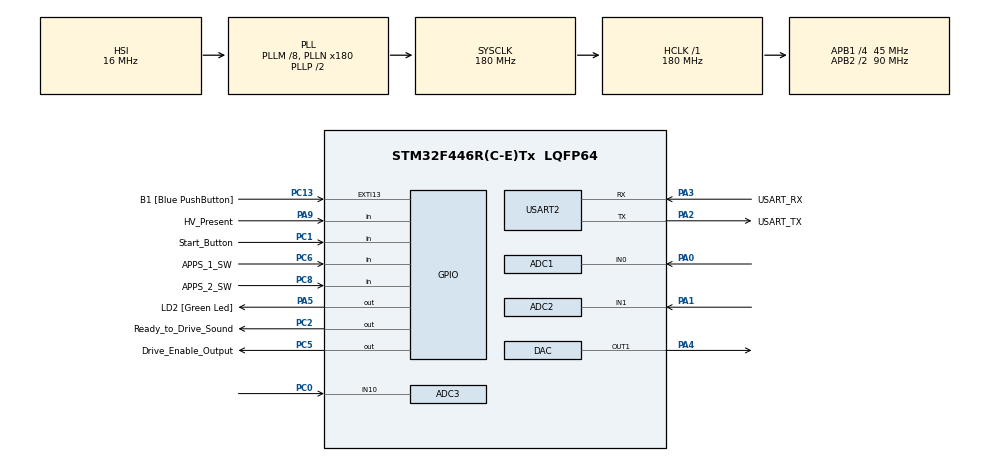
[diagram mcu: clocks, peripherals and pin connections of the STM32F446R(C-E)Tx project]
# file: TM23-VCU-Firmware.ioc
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ADC1.Channel-4\#ChannelRegularConversion=ADC_CHANNEL_0
ADC1.ContinuousConvMode=ENABLE
ADC1.DMAContinuousRequests=ENABLE
ADC1.NbrOfConversionFlag=1
ADC1.Rank-4\#ChannelRegularConversion=1
ADC1.SamplingTime-4\#ChannelRegularConversion=ADC_SAMPLETIME_3CYCLES
ADC1.master=1
ADC2.Channel-0\#ChannelRegularConversion=ADC_CHANNEL_1
ADC2.ContinuousConvMode=ENABLE
ADC2.DMAContinuousRequests=ENABLE
ADC2.NbrOfConversionFlag=1
ADC2.Rank-0\#ChannelRegularConversion=1
ADC2.SamplingTime-0\#ChannelRegularConversion=ADC_SAMPLETIME_3CYCLES
ADC2.ScanConvMode=DISABLE
ADC3.Channel-0\#ChannelRegularConversion=ADC_CHANNEL_10
ADC3.ContinuousConvMode=ENABLE
ADC3.DMAContinuousRequests=ENABLE
ADC3.NbrOfConversion=1
ADC3.NbrOfConversionFlag=1
ADC3.Rank-0\#ChannelRegularConversion=1
ADC3.SamplingTime-0\#ChannelRegularConversion=ADC_SAMPLETIME_3CYCLES
Dma.ADC1.3.Direction=DMA_PERIPH_TO_MEMORY
Dma.ADC1.3.FIFOMode=DMA_FIFOMODE_ENABLE
Dma.ADC1.3.FIFOThreshold=DMA_FIFO_THRESHOLD_FULL
Dma.ADC1.3.Instance=DMA2_Stream0
Dma.ADC1.3.MemBurst=DMA_MBURST_SINGLE
Dma.ADC1.3.MemDataAlignment=DMA_MDATAALIGN_HALFWORD
Dma.ADC1.3.MemInc=DMA_MINC_ENABLE
Dma.ADC1.3.Mode=DMA_CIRCULAR
Dma.ADC1.3.PeriphBurst=DMA_PBURST_SINGLE
Dma.ADC1.3.PeriphDataAlignment=DMA_PDATAALIGN_HALFWORD
Dma.ADC1.3.PeriphInc=DMA_PINC_DISABLE
Dma.ADC1.3.Priority=DMA_PRIORITY_LOW
Dma.ADC2.0.Direction=DMA_PERIPH_TO_MEMORY
Dma.ADC2.0.FIFOMode=DMA_FIFOMODE_ENABLE
Dma.ADC2.0.FIFOThreshold=DMA_FIFO_THRESHOLD_FULL
Dma.ADC2.0.Instance=DMA2_Stream2
Dma.ADC2.0.MemBurst=DMA_MBURST_SINGLE
Dma.ADC2.0.MemDataAlignment=DMA_MDATAALIGN_HALFWORD
Dma.ADC2.0.MemInc=DMA_MINC_ENABLE
Dma.ADC2.0.Mode=DMA_CIRCULAR
Dma.ADC2.0.PeriphBurst=DMA_PBURST_SINGLE
Dma.ADC2.0.PeriphDataAlignment=DMA_PDATAALIGN_HALFWORD
Dma.ADC2.0.PeriphInc=DMA_PINC_DISABLE
Dma.ADC2.0.Priority=DMA_PRIORITY_LOW
Dma.ADC3.1.Direction=DMA_PERIPH_TO_MEMORY
Dma.ADC3.1.FIFOMode=DMA_FIFOMODE_ENABLE
Dma.ADC3.1.FIFOThreshold=DMA_FIFO_THRESHOLD_FULL
Dma.ADC3.1.Instance=DMA2_Stream1
Dma.ADC3.1.MemBurst=DMA_MBURST_SINGLE
Dma.ADC3.1.MemDataAlignment=DMA_MDATAALIGN_HALFWORD
Dma.ADC3.1.MemInc=DMA_MINC_ENABLE
Dma.ADC3.1.Mode=DMA_CIRCULAR
Dma.ADC3.1.PeriphBurst=DMA_PBURST_SINGLE
Dma.ADC3.1.PeriphDataAlignment=DMA_PDATAALIGN_HALFWORD
Dma.ADC3.1.PeriphInc=DMA_PINC_DISABLE
Dma.ADC3.1.Priority=DMA_PRIORITY_LOW
Dma.DAC1.2.Direction=DMA_MEMORY_TO_PERIPH
Dma.DAC1.2.FIFOMode=DMA_FIFOMODE_ENABLE
Dma.DAC1.2.FIFOThreshold=DMA_FIFO_THRESHOLD_FULL
Dma.DAC1.2.Instance=DMA1_Stream5
Dma.DAC1.2.MemBurst=DMA_MBURST_SINGLE
Dma.DAC1.2.MemDataAlignment=DMA_MDATAALIGN_HALFWORD
Dma.DAC1.2.MemInc=DMA_MINC_ENABLE
Dma.DAC1.2.Mode=DMA_CIRCULAR
Dma.DAC1.2.PeriphBurst=DMA_PBURST_SINGLE
Dma.DAC1.2.PeriphDataAlignment=DMA_PDATAALIGN_HALFWORD
Dma.DAC1.2.PeriphInc=DMA_PINC_DISABLE
Dma.DAC1.2.Priority=DMA_PRIORITY_LOW
Dma.Request0=ADC2
Dma.Request1=ADC3
Dma.Request2=DAC1
Dma.Request3=ADC1
Mcu.Family=STM32F4
Mcu.Name=STM32F446R(C-E)Tx
Mcu.Package=LQFP64
NVIC.ADC_IRQn=true\:0\:0\:false\:false\:true\:true\:true\:true
NVIC.DMA1_Stream5_IRQn=true\:0\:0\:false\:false\:true\:false\:true\:true
NVIC.DMA2_Stream0_IRQn=true\:0\:0\:false\:false\:true\:false\:true\:true
NVIC.DMA2_Stream1_IRQn=true\:0\:0\:false\:false\:true\:false\:true\:true
NVIC.DMA2_Stream2_IRQn=true\:0\:0\:false\:false\:true\:false\:true\:true
NVIC.PriorityGroup=NVIC_PRIORITYGROUP_0
NVIC.TIM2_IRQn=true\:0\:0\:false\:false\:true\:true\:true\:true
PA0-WKUP.Signal=ADCx_IN0
PA1.Signal=ADCx_IN1
PA13.GPIO_Label=TMS
PA13.Mode=Serial_Wire
PA13.Signal=SYS_JTMS-SWDIO
PA14.GPIO_Label=TCK
PA14.Mode=Serial_Wire
PA14.Signal=SYS_JTCK-SWCLK
PA2.GPIO_Label=USART_TX
PA2.Mode=Asynchronous
PA2.Signal=USART2_TX
PA3.GPIO_Label=USART_RX
PA3.Mode=Asynchronous
PA3.Signal=USART2_RX
PA4.Signal=COMP_DAC1_group
PA5.GPIO_Label=LD2 [Green Led]
PA5.Signal=GPIO_Output
PA9.GPIO_Label=HV_Present
PA9.GPIO_PuPd=GPIO_NOPULL
PA9.Signal=GPIO_Input
PB3.GPIO_Label=SWO
PB3.Signal=SYS_JTDO-SWO
PC0.Signal=ADCx_IN10
PC1.GPIO_Label=Start_Button
PC1.Signal=GPIO_Input
PC13.GPIO_Label=B1 [Blue PushButton]
PC13.GPIO_ModeDefaultEXTI=GPIO_MODE_IT_FALLING
PC13.Signal=GPXTI13
PC14-OSC32_IN.Mode=LSE-External-Oscillator
PC14-OSC32_IN.Signal=RCC_OSC32_IN
PC15-OSC32_OUT.Mode=LSE-External-Oscillator
PC15-OSC32_OUT.Signal=RCC_OSC32_OUT
PC2.GPIO_Label=Ready_to_Drive_Sound
PC2.Signal=GPIO_Output
PC5.GPIO_Label=Drive_Enable_Output
PC5.GPIO_ModeDefaultOutputPP=GPIO_MODE_OUTPUT_OD
PC5.GPIO_PuPd=GPIO_PULLUP
PC5.PinState=GPIO_PIN_RESET
PC5.Signal=GPIO_Output
PC6.GPIO_Label=APPS_1_SW
PC6.Signal=GPIO_Input
PC8.GPIO_Label=APPS_2_SW
PC8.Signal=GPIO_Input
PH0-OSC_IN.Mode=HSE-External-Oscillator
PH0-OSC_IN.Signal=RCC_OSC_IN
PH1-OSC_OUT.Mode=HSE-External-Oscillator
PH1-OSC_OUT.Signal=RCC_OSC_OUT
ProjectManager.HeapSize=0x200
ProjectManager.StackSize=0x400
ProjectManager.TargetToolchain=STM32CubeIDE
RCC.48MHZClocksFreq_Value=84000000
RCC.AHBFreq_Value=180000000
RCC.APB1CLKDivider=RCC_HCLK_DIV4
RCC.APB1Freq_Value=45000000
RCC.APB1TimFreq_Value=90000000
RCC.APB2CLKDivider=RCC_HCLK_DIV2
RCC.APB2Freq_Value=90000000
RCC.APB2TimFreq_Value=180000000
RCC.CortexFreq_Value=180000000
RCC.FLatency-AdvancedSettings=FLASH_LATENCY_5
RCC.HCLKFreq_Value=180000000
RCC.HSE_VALUE=8000000
RCC.HSI_VALUE=16000000
RCC.PLLM=8
RCC.PLLN=180
RCC.SYSCLKFreq_VALUE=180000000
RCC.SYSCLKSource=RCC_SYSCLKSOURCE_PLLCLK
RCC.USBFreq_Value=180000000
RCC.VCOOutputFreq_Value=360000000
SH.ADCx_IN0.0=ADC1_IN0,IN0
SH.ADCx_IN1.0=ADC2_IN1,IN1
SH.ADCx_IN10.0=ADC3_IN10,IN10
SH.COMP_DAC1_group.0=DAC_OUT1,DAC_OUT1
TIM2.Period=17999
TIM2.Prescaler=999
USART2.VirtualMode=VM_ASYNC
VP_TIM2_VS_ClockSourceINT.Mode=Internal
board=NUCLEO-F446RE

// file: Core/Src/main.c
/* USER CODE BEGIN Header */
/**
 ******************************************************************************
 * @file           : main.c
 * @brief          : Main program body
 ******************************************************************************
 * @attention
 *
 * Copyright (c) 2022 STMicroelectronics.
 * All rights reserved.
 *
 * This software is licensed under terms that can be found in the LICENSE file
 * in the root directory of this software component.
 * If no LICENSE file comes with this software, it is provided AS-IS.
 *
 ******************************************************************************
 */
/* USER CODE END Header */
#include "main.h"

/* USER CODE BEGIN Includes */
#include "states.h"
#include "checks.h"
#include "utils.h"
#include "signals.h"
/* USER CODE END Includes */

ADC_HandleTypeDef hadc1;
ADC_HandleTypeDef hadc2;
ADC_HandleTypeDef hadc3;
DMA_HandleTypeDef hdma_adc1;
DMA_HandleTypeDef hdma_adc2;
DMA_HandleTypeDef hdma_adc3;

DAC_HandleTypeDef hdac;
DMA_HandleTypeDef hdma_dac1;

TIM_HandleTypeDef htim2;

UART_HandleTypeDef huart2;

void SystemClock_Config(void);
static void MX_GPIO_Init(void);
static void MX_DMA_Init(void);
static void MX_USART2_UART_Init(void);
static void MX_ADC1_Init(void);
static void MX_ADC2_Init(void);
static void MX_ADC3_Init(void);
static void MX_DAC_Init(void);

/* USER CODE BEGIN 0 */

uint32_t value_to_inverter = 0; // this is the value that when changed, will directly control the DAC value that is output to the inverter (not yet implemented)

char msg[256];

uint32_t appsVal[2] = {0}; //to store APPS ADC values
uint32_t apps_Pedal_Position[2] = {0}; //to store APPS Pedal Position Values (in %)
uint32_t bpsVal[2] = {0}; //to store Brake Pressure Sensor values
uint32_t bps_Pedal_Position[2] = {0};

/* USER CODE END 0 */

int main(void) {

    /* MCU Configuration--------------------------------------------------------*/

    /* Reset of all peripherals, Initializes the Flash interface and the Systick. */
    HAL_Init();

    /* Configure the system clock */
    SystemClock_Config();

    /* Initialize all configured peripherals */
    MX_GPIO_Init();
    MX_DMA_Init();
    MX_USART2_UART_Init();
    MX_ADC1_Init();
    MX_ADC2_Init();
    MX_ADC3_Init();
    MX_DAC_Init();
    MX_TIM2_Init();
    /* USER CODE BEGIN 2 */
    HAL_ADC_Start_DMA(&hadc1, &appsVal[0], 1); //start the ADC for APPS 1 (Rotational Sensor) in DMA mode
    HAL_ADC_Start_DMA(&hadc2, &appsVal[1], 1); //start the ADC for APPS 2 (Linear Sensor) in DMA mode
    HAL_ADC_Start_DMA(&hadc3, &bpsVal[0], 1); //start the ADC for Brake Pressure Sensors in DMA mode

    enable_dac_channel_1();

    sprintf(msg, "System initialized.\n");
    HAL_UART_Transmit(&huart2, (uint8_t *) msg, strlen(msg), HAL_MAX_DELAY);

#ifdef TESTING
    while (1) {
        APPSMapEncoderValueToPositionPercentage(&appsVal[0], &appsVal[1], apps_Pedal_Position);
        set_value_to_inverter(&appsVal, &bpsVal);
        BPSMapEncoderValueToPositionPercentage(&bpsVal[0], bps_Pedal_Position);
        monitor_Signals();
        HAL_Delay(50);
    }
#endif

    /* USER CODE END 2 */

    /* Infinite loop */
    while (1) {

        /* USER CODE BEGIN 3 */

        //Should always be monitoring for signals from APPS, Brake sensors and TS active
        monitor_Signals();

        // Pedal position values are needed in all of these functions so they should be updated. Is this the best place to do it though? Should it be handled with interrupts / another faster mehtod?
        APPSMapEncoderValueToPositionPercentage(&appsVal[0], &appsVal[1], apps_Pedal_Position);
        BPSMapEncoderValueToPositionPercentage(&bpsVal[0], bps_Pedal_Position);

        // FSM (Finite State Machine)
        switch (current_State) {

            case STANDBY_STATE:
                standby_State();
                break;

            case RUNNING_STATE:
                running_State();
                break;

            case BSPD_TRIP_STATE:
                BSPD_Trip_State();
                break;

            case ERROR_STATE:
                error_State();

            default: // You tried to enter a state not defined in this switch-case
                current_State = ERROR_STATE;
                errorCode |= ERR_STATE_UNDEFINED;
                error_State();

        } //end switch case

    } //end infinite while loop

    /* USER CODE END 3 */
}

void SystemClock_Config(void) {
    RCC_OscInitTypeDef RCC_OscInitStruct = {0};
    RCC_ClkInitTypeDef RCC_ClkInitStruct = {0};

    /** Configure the main internal regulator output voltage
    */
    __HAL_RCC_PWR_CLK_ENABLE();
    __HAL_PWR_VOLTAGESCALING_CONFIG(PWR_REGULATOR_VOLTAGE_SCALE1);

    /** Initializes the RCC Oscillators according to the specified parameters
    * in the RCC_OscInitTypeDef structure.
    */
    RCC_OscInitStruct.OscillatorType = RCC_OSCILLATORTYPE_HSI;
    RCC_OscInitStruct.HSIState = RCC_HSI_ON;
    RCC_OscInitStruct.HSICalibrationValue = RCC_HSICALIBRATION_DEFAULT;
    RCC_OscInitStruct.PLL.PLLState = RCC_PLL_ON;
    RCC_OscInitStruct.PLL.PLLSource = RCC_PLLSOURCE_HSI;
    RCC_OscInitStruct.PLL.PLLM = 8;
    RCC_OscInitStruct.PLL.PLLN = 180;
    RCC_OscInitStruct.PLL.PLLP = RCC_PLLP_DIV2;
    RCC_OscInitStruct.PLL.PLLQ = 2;
    RCC_OscInitStruct.PLL.PLLR = 2;
    if (HAL_RCC_OscConfig(&RCC_OscInitStruct) != HAL_OK) {
        Error_Handler();
    }

    /** Activate the Over-Drive mode
    */
    if (HAL_PWREx_EnableOverDrive() != HAL_OK) {
        Error_Handler();
    }

    /** Initializes the CPU, AHB and APB buses clocks
    */
    RCC_ClkInitStruct.ClockType = RCC_CLOCKTYPE_HCLK | RCC_CLOCKTYPE_SYSCLK
                                  | RCC_CLOCKTYPE_PCLK1 | RCC_CLOCKTYPE_PCLK2;
    RCC_ClkInitStruct.SYSCLKSource = RCC_SYSCLKSOURCE_PLLCLK;
    RCC_ClkInitStruct.AHBCLKDivider = RCC_SYSCLK_DIV1;
    RCC_ClkInitStruct.APB1CLKDivider = RCC_HCLK_DIV4;
    RCC_ClkInitStruct.APB2CLKDivider = RCC_HCLK_DIV2;

    if (HAL_RCC_ClockConfig(&RCC_ClkInitStruct, FLASH_LATENCY_5) != HAL_OK) {
        Error_Handler();
    }
}

static void MX_ADC1_Init(void) {

    ADC_ChannelConfTypeDef sConfig = {0};

    /** Configure the global features of the ADC (Clock, Resolution, Data Alignment and number of conversion)
    */
    hadc1.Instance = ADC1;
    hadc1.Init.ClockPrescaler = ADC_CLOCK_SYNC_PCLK_DIV4;
    hadc1.Init.Resolution = ADC_RESOLUTION_12B;
    hadc1.Init.ScanConvMode = DISABLE;
    hadc1.Init.ContinuousConvMode = ENABLE;
    hadc1.Init.DiscontinuousConvMode = DISABLE;
    hadc1.Init.ExternalTrigConvEdge = ADC_EXTERNALTRIGCONVEDGE_NONE;
    hadc1.Init.ExternalTrigConv = ADC_SOFTWARE_START;
    hadc1.Init.DataAlign = ADC_DATAALIGN_RIGHT;
    hadc1.Init.NbrOfConversion = 1;
    hadc1.Init.DMAContinuousRequests = ENABLE;
    hadc1.Init.EOCSelection = ADC_EOC_SINGLE_CONV;
    if (HAL_ADC_Init(&hadc1) != HAL_OK) {
        Error_Handler();
    }

    /** Configure for the selected ADC regular channel its corresponding rank in the sequencer and its sample time.
    */
    sConfig.Channel = ADC_CHANNEL_0;
    sConfig.Rank = 1;
    sConfig.SamplingTime = ADC_SAMPLETIME_3CYCLES;
    if (HAL_ADC_ConfigChannel(&hadc1, &sConfig) != HAL_OK) {
        Error_Handler();
    }

}

static void MX_ADC2_Init(void) {

    ADC_ChannelConfTypeDef sConfig = {0};

    /** Configure the global features of the ADC (Clock, Resolution, Data Alignment and number of conversion)
    */
    hadc2.Instance = ADC2;
    hadc2.Init.ClockPrescaler = ADC_CLOCK_SYNC_PCLK_DIV4;
    hadc2.Init.Resolution = ADC_RESOLUTION_12B;
    hadc2.Init.ScanConvMode = DISABLE;
    hadc2.Init.ContinuousConvMode = ENABLE;
    hadc2.Init.DiscontinuousConvMode = DISABLE;
    hadc2.Init.ExternalTrigConvEdge = ADC_EXTERNALTRIGCONVEDGE_NONE;
    hadc2.Init.ExternalTrigConv = ADC_SOFTWARE_START;
    hadc2.Init.DataAlign = ADC_DATAALIGN_RIGHT;
    hadc2.Init.NbrOfConversion = 1;
    hadc2.Init.DMAContinuousRequests = ENABLE;
    hadc2.Init.EOCSelection = ADC_EOC_SINGLE_CONV;
    if (HAL_ADC_Init(&hadc2) != HAL_OK) {
        Error_Handler();
    }

    /** Configure for the selected ADC regular channel its corresponding rank in the sequencer and its sample time.
    */
    sConfig.Channel = ADC_CHANNEL_1;
    sConfig.Rank = 1;
    sConfig.SamplingTime = ADC_SAMPLETIME_3CYCLES;
    if (HAL_ADC_ConfigChannel(&hadc2, &sConfig) != HAL_OK) {
        Error_Handler();
    }

}

static void MX_ADC3_Init(void) {

    ADC_ChannelConfTypeDef sConfig = {0};

    /** Configure the global features of the ADC (Clock, Resolution, Data Alignment and number of conversion)
    */
    hadc3.Instance = ADC3;
    hadc3.Init.ClockPrescaler = ADC_CLOCK_SYNC_PCLK_DIV4;
    hadc3.Init.Resolution = ADC_RESOLUTION_12B;
    hadc3.Init.ScanConvMode = DISABLE;
    hadc3.Init.ContinuousConvMode = ENABLE;
    hadc3.Init.DiscontinuousConvMode = DISABLE;
    hadc3.Init.ExternalTrigConvEdge = ADC_EXTERNALTRIGCONVEDGE_NONE;
    hadc3.Init.ExternalTrigConv = ADC_SOFTWARE_START;
    hadc3.Init.DataAlign = ADC_DATAALIGN_RIGHT;
    hadc3.Init.NbrOfConversion = 1;
    hadc3.Init.DMAContinuousRequests = ENABLE;
    hadc3.Init.EOCSelection = ADC_EOC_SINGLE_CONV;
    if (HAL_ADC_Init(&hadc3) != HAL_OK) {
        Error_Handler();
    }

    /** Configure for the selected ADC regular channel its corresponding rank in the sequencer and its sample time.
    */
    sConfig.Channel = ADC_CHANNEL_10;
    sConfig.Rank = 1;
    sConfig.SamplingTime = ADC_SAMPLETIME_3CYCLES;
    if (HAL_ADC_ConfigChannel(&hadc3, &sConfig) != HAL_OK) {
        Error_Handler();
    }

}

static void MX_DAC_Init(void) {

    DAC_ChannelConfTypeDef sConfig = {0};

    /** DAC Initialization
    */
    hdac.Instance = DAC;
    if (HAL_DAC_Init(&hdac) != HAL_OK) {
        Error_Handler();
    }

    /** DAC channel OUT1 config
    */
    sConfig.DAC_Trigger = DAC_TRIGGER_NONE;
    sConfig.DAC_OutputBuffer = DAC_OUTPUTBUFFER_ENABLE;
    if (HAL_DAC_ConfigChannel(&hdac, &sConfig, DAC_CHANNEL_1) != HAL_OK) {
        Error_Handler();
    }

}

void MX_TIM2_Init(void) {

    TIM_ClockConfigTypeDef sClockSourceConfig = {0};
    TIM_MasterConfigTypeDef sMasterConfig = {0};

    htim2.Instance = TIM2;
    htim2.Init.Prescaler = 999;
    htim2.Init.CounterMode = TIM_COUNTERMODE_UP;
    htim2.Init.Period = 17999;
    htim2.Init.ClockDivision = TIM_CLOCKDIVISION_DIV1;
    htim2.Init.AutoReloadPreload = TIM_AUTORELOAD_PRELOAD_DISABLE;
    if (HAL_TIM_Base_Init(&htim2) != HAL_OK) {
        Error_Handler();
    }
    sClockSourceConfig.ClockSource = TIM_CLOCKSOURCE_INTERNAL;
    if (HAL_TIM_ConfigClockSource(&htim2, &sClockSourceConfig) != HAL_OK) {
        Error_Handler();
    }
    sMasterConfig.MasterOutputTrigger = TIM_TRGO_RESET;
    sMasterConfig.MasterSlaveMode = TIM_MASTERSLAVEMODE_DISABLE;
    if (HAL_TIMEx_MasterConfigSynchronization(&htim2, &sMasterConfig) != HAL_OK) {
        Error_Handler();
    }

}

static void MX_USART2_UART_Init(void) {

    huart2.Instance = USART2;
    huart2.Init.BaudRate = 115200;
    huart2.Init.WordLength = UART_WORDLENGTH_8B;
    huart2.Init.StopBits = UART_STOPBITS_1;
    huart2.Init.Parity = UART_PARITY_NONE;
    huart2.Init.Mode = UART_MODE_TX_RX;
    huart2.Init.HwFlowCtl = UART_HWCONTROL_NONE;
    huart2.Init.OverSampling = UART_OVERSAMPLING_16;
    if (HAL_UART_Init(&huart2) != HAL_OK) {
        Error_Handler();
    }

}

static void MX_DMA_Init(void) {

    /* DMA controller clock enable */
    __HAL_RCC_DMA2_CLK_ENABLE();
    __HAL_RCC_DMA1_CLK_ENABLE();

    /* DMA interrupt init */
    /* DMA1_Stream5_IRQn interrupt configuration */
    HAL_NVIC_SetPriority(DMA1_Stream5_IRQn, 0, 0);
    HAL_NVIC_EnableIRQ(DMA1_Stream5_IRQn);
    /* DMA2_Stream0_IRQn interrupt configuration */
    HAL_NVIC_SetPriority(DMA2_Stream0_IRQn, 0, 0);
    HAL_NVIC_EnableIRQ(DMA2_Stream0_IRQn);
    /* DMA2_Stream1_IRQn interrupt configuration */
    HAL_NVIC_SetPriority(DMA2_Stream1_IRQn, 0, 0);
    HAL_NVIC_EnableIRQ(DMA2_Stream1_IRQn);
    /* DMA2_Stream2_IRQn interrupt configuration */
    HAL_NVIC_SetPriority(DMA2_Stream2_IRQn, 0, 0);
    HAL_NVIC_EnableIRQ(DMA2_Stream2_IRQn);

}

static void MX_GPIO_Init(void) {
    GPIO_InitTypeDef GPIO_InitStruct = {0};

    /* GPIO Ports Clock Enable */
    __HAL_RCC_GPIOC_CLK_ENABLE();
    __HAL_RCC_GPIOH_CLK_ENABLE();
    __HAL_RCC_GPIOA_CLK_ENABLE();
    __HAL_RCC_GPIOB_CLK_ENABLE();

    /*Configure GPIO pin Output Level */
    HAL_GPIO_WritePin(GPIOC, Ready_to_Drive_Sound_Pin | Drive_Enable_Output_Pin, GPIO_PIN_RESET);

    /*Configure GPIO pin Output Level */
    HAL_GPIO_WritePin(LD2_GPIO_Port, LD2_Pin, GPIO_PIN_RESET);

    /*Configure GPIO pin : B1_Pin */
    GPIO_InitStruct.Pin = B1_Pin;
    GPIO_InitStruct.Mode = GPIO_MODE_IT_FALLING;
    GPIO_InitStruct.Pull = GPIO_NOPULL;
    HAL_GPIO_Init(B1_GPIO_Port, &GPIO_InitStruct);

    /*Configure GPIO pins : Start_Button_Pin APPS_1_SW_Pin APPS_2_SW_Pin */
    GPIO_InitStruct.Pin = Start_Button_Pin | APPS_1_SW_Pin | APPS_2_SW_Pin;
    GPIO_InitStruct.Mode = GPIO_MODE_INPUT;
    GPIO_InitStruct.Pull = GPIO_NOPULL;
    HAL_GPIO_Init(GPIOC, &GPIO_InitStruct);

    /*Configure GPIO pin : Ready_to_Drive_Sound_Pin */
    GPIO_InitStruct.Pin = Ready_to_Drive_Sound_Pin;
    GPIO_InitStruct.Mode = GPIO_MODE_OUTPUT_PP;
    GPIO_InitStruct.Pull = GPIO_NOPULL;
    GPIO_InitStruct.Speed = GPIO_SPEED_FREQ_LOW;
    HAL_GPIO_Init(Ready_to_Drive_Sound_GPIO_Port, &GPIO_InitStruct);

    /*Configure GPIO pin : LD2_Pin */
    GPIO_InitStruct.Pin = LD2_Pin;
    GPIO_InitStruct.Mode = GPIO_MODE_OUTPUT_PP;
    GPIO_InitStruct.Pull = GPIO_NOPULL;
    GPIO_InitStruct.Speed = GPIO_SPEED_FREQ_LOW;
    HAL_GPIO_Init(LD2_GPIO_Port, &GPIO_InitStruct);

    /*Configure GPIO pin : Drive_Enable_Output_Pin */
    GPIO_InitStruct.Pin = Drive_Enable_Output_Pin;
    GPIO_InitStruct.Mode = GPIO_MODE_OUTPUT_OD;
    GPIO_InitStruct.Pull = GPIO_PULLUP;
    GPIO_InitStruct.Speed = GPIO_SPEED_FREQ_LOW;
    HAL_GPIO_Init(Drive_Enable_Output_GPIO_Port, &GPIO_InitStruct);

    /*Configure GPIO pin : HV_Present_Pin */
    GPIO_InitStruct.Pin = HV_Present_Pin;
    GPIO_InitStruct.Mode = GPIO_MODE_INPUT;
    GPIO_InitStruct.Pull = GPIO_NOPULL;
    HAL_GPIO_Init(HV_Present_GPIO_Port, &GPIO_InitStruct);

}

void Error_Handler(void) {
    __disable_irq();
    while (1) {}
}
